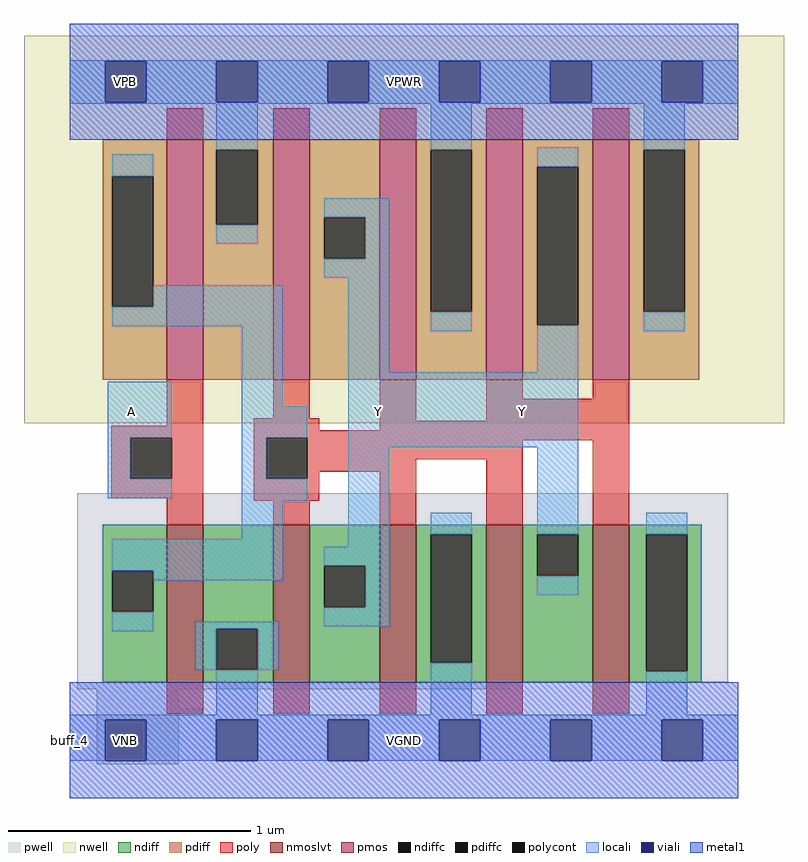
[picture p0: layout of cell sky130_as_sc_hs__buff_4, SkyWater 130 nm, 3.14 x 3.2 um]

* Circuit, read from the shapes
.subckt sky130_as_sc_hs__buff_4 VPB VPWR VGND VNB A Y
XM1 VGND A n1 VNB sky130_fd_pr__nfet_01v8_lvt w=0.65 l=0.15
XM2 Y n1 VGND VNB sky130_fd_pr__nfet_01v8_lvt w=0.65 l=0.15 m=4
XM3 VPWR A n1 VPB sky130_fd_pr__pfet_01v8 w=0.99 l=0.15
XM4 Y n1 VPWR VPB sky130_fd_pr__pfet_01v8 w=0.99 l=0.15 m=4
.ends

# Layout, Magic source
magic
tech sky130A
magscale 1 2
<< nwell >>
rect -38 262 590 582
<< pwell >>
rect 6 48 544 204
rect 6 42 362 48
rect 22 26 90 42
rect 22 22 110 26
rect 22 -20 90 22
<< pmos >>
rect 80 298 110 496
rect 168 298 198 496
rect 256 298 286 496
rect 344 298 374 496
rect 432 298 462 496
<< nmoslvt >>
rect 80 48 110 178
rect 168 48 198 178
rect 256 48 286 178
rect 344 48 374 178
rect 432 48 462 178
<< ndiff >>
rect 27 140 80 178
rect 27 106 35 140
rect 69 106 80 140
rect 27 48 80 106
rect 110 92 168 178
rect 110 58 121 92
rect 155 58 168 92
rect 110 48 168 58
rect 198 144 256 178
rect 198 110 210 144
rect 244 110 256 144
rect 198 48 256 110
rect 286 170 344 178
rect 286 64 298 170
rect 332 64 344 170
rect 286 48 344 64
rect 374 170 432 178
rect 374 136 386 170
rect 420 136 432 170
rect 374 48 432 136
rect 462 170 522 178
rect 462 57 476 170
rect 510 57 522 170
rect 462 48 522 57
<< pdiff >>
rect 27 466 80 496
rect 27 358 35 466
rect 69 358 80 466
rect 27 298 80 358
rect 110 488 168 496
rect 110 426 121 488
rect 155 426 168 488
rect 110 298 168 426
rect 198 432 256 496
rect 198 398 210 432
rect 244 398 256 432
rect 198 298 256 398
rect 286 488 344 496
rect 286 354 298 488
rect 332 354 344 488
rect 286 298 344 354
rect 374 474 432 496
rect 374 343 386 474
rect 420 343 432 474
rect 374 298 432 343
rect 462 488 520 496
rect 462 354 474 488
rect 508 354 520 488
rect 462 298 520 354
<< ndiffc >>
rect 35 106 69 140
rect 121 58 155 92
rect 210 110 244 144
rect 298 64 332 170
rect 386 136 420 170
rect 476 57 510 170
<< pdiffc >>
rect 35 358 69 466
rect 121 426 155 488
rect 210 398 244 432
rect 298 354 332 488
rect 386 343 420 474
rect 474 354 508 488
<< poly >>
rect 80 496 110 522
rect 168 496 198 522
rect 256 496 286 522
rect 344 496 374 522
rect 432 496 462 522
rect 80 260 110 298
rect 168 266 198 298
rect 34 250 110 260
rect 34 216 50 250
rect 84 216 110 250
rect 34 200 110 216
rect 80 178 110 200
rect 152 256 206 266
rect 256 264 286 298
rect 344 282 374 298
rect 432 282 462 298
rect 344 264 462 282
rect 256 256 462 264
rect 152 250 462 256
rect 152 216 162 250
rect 196 248 462 250
rect 196 232 374 248
rect 196 222 286 232
rect 196 216 206 222
rect 152 198 206 216
rect 168 178 198 198
rect 256 178 286 222
rect 344 178 374 232
rect 432 178 462 248
rect 80 22 110 48
rect 168 22 198 48
rect 256 22 286 48
rect 344 22 374 48
rect 432 22 462 48
<< polycont >>
rect 50 216 84 250
rect 162 216 196 250
<< locali >>
rect 0 561 552 562
rect 0 527 29 561
rect 63 527 121 561
rect 155 527 213 561
rect 247 527 305 561
rect 339 527 397 561
rect 431 527 489 561
rect 523 527 552 561
rect 0 526 552 527
rect 121 488 155 526
rect 35 466 69 484
rect 298 488 332 526
rect 121 410 155 426
rect 210 432 264 448
rect 244 398 264 432
rect 210 382 264 398
rect 69 358 176 376
rect 35 342 176 358
rect 31 250 84 296
rect 31 216 50 250
rect 31 200 84 216
rect 142 276 176 342
rect 230 304 264 382
rect 298 338 332 354
rect 386 474 420 490
rect 386 304 420 343
rect 474 488 508 526
rect 474 338 508 354
rect 142 250 196 276
rect 142 216 162 250
rect 142 198 196 216
rect 230 242 420 304
rect 142 166 176 198
rect 35 140 176 166
rect 230 160 264 242
rect 69 132 176 140
rect 210 144 264 160
rect 35 90 69 106
rect 244 110 264 144
rect 104 92 172 98
rect 210 94 264 110
rect 298 170 332 188
rect 104 58 121 92
rect 155 58 172 92
rect 386 170 420 242
rect 386 120 420 136
rect 476 170 510 188
rect 121 21 155 58
rect 298 21 332 64
rect 476 21 510 57
rect 0 17 552 21
rect 0 -17 29 17
rect 63 -17 121 17
rect 155 -17 213 17
rect 247 -17 305 17
rect 339 -17 397 17
rect 431 -17 489 17
rect 523 -17 552 17
<< viali >>
rect 29 527 63 561
rect 121 527 155 561
rect 213 527 247 561
rect 305 527 339 561
rect 397 527 431 561
rect 489 527 523 561
rect 29 -17 63 17
rect 121 -17 155 17
rect 213 -17 247 17
rect 305 -17 339 17
rect 397 -17 431 17
rect 489 -17 523 17
<< metal1 >>
rect 0 561 552 592
rect 0 527 29 561
rect 63 527 121 561
rect 155 527 213 561
rect 247 527 305 561
rect 339 527 397 561
rect 431 527 489 561
rect 523 527 552 561
rect 0 496 552 527
rect 0 17 552 48
rect 0 -17 29 17
rect 63 -17 121 17
rect 155 -17 213 17
rect 247 -17 305 17
rect 339 -17 397 17
rect 431 -17 489 17
rect 523 -17 552 17
rect 0 -48 552 -17
<< labels >>
rlabel comment s 0 0 0 0 4 buff_4
flabel pwell s 29 -17 63 17 0 FreeSans 200 0 0 0 VNB
port 4 nsew ground bidirectional
flabel pwell s 46 0 46 0 0 FreeSans 200 0 0 0 VNB
flabel nwell s 29 527 63 561 0 FreeSans 200 0 0 0 VPB
port 1 nsew power bidirectional
flabel nwell s 46 544 46 544 0 FreeSans 200 0 0 0 VPB
flabel metal1 s 29 527 63 561 0 FreeSans 200 0 0 0 VPWR
port 2 nsew power bidirectional abutment
flabel metal1 s 29 -17 63 17 0 FreeSans 200 0 0 0 VGND
port 3 nsew ground bidirectional abutment
rlabel metal1 s 0 -48 552 48 1 VGND
port 3 nsew ground bidirectional abutment
rlabel metal1 s 0 496 552 592 1 VPWR
port 2 nsew power bidirectional abutment
flabel locali s 34 255 68 289 0 FreeSans 200 0 0 0 A
port 5 nsew signal input
flabel locali s 51 272 51 272 0 FreeSans 200 0 0 0 A
flabel locali s 238 255 272 289 0 FreeSans 200 0 0 0 Y
port 6 nsew signal output
flabel locali s 255 272 255 272 0 FreeSans 200 0 0 0 Y
flabel locali 357 255 391 289 0 FreeSans 200 0 0 0 Y
port 6 nsew signal output
flabel locali 374 272 374 272 0 FreeSans 200 0 0 0 Y
<< properties >>
string FIXED_BBOX 0 0 552 544
string GDS_FILE $PDKPATH/libs.ref/sky130_as_sc_hs/gds/sky130_as_sc_hs__buff_4.gds
string LEFclass CORE
string LEFsite unithd
string LEFsymmetry X Y R90
string MASKHINTS_LVTN 0 -4 552 216
string MASKHINTS_NSDM 0 -38 552 204
string MASKHINTS_PSDM 0 272 552 582
<< end >>
